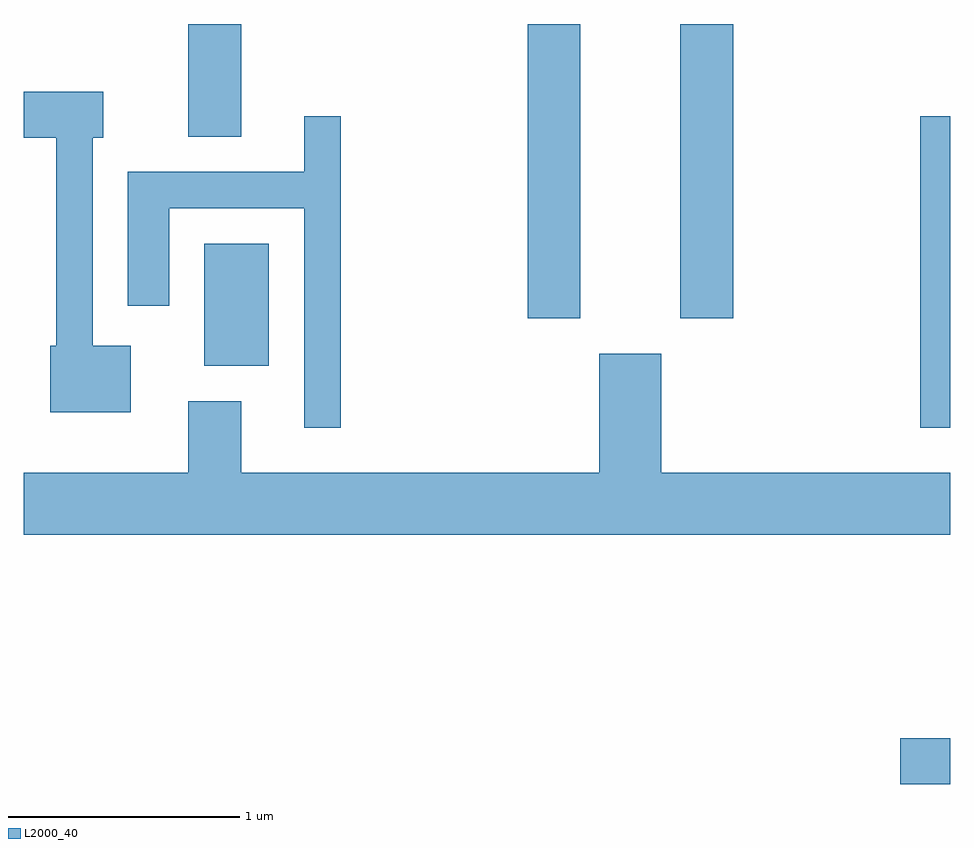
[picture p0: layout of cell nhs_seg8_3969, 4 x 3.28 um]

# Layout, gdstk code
import gdstk
lib = gdstk.Library(unit=1e-6, precision=1e-09)
def R(c, l, rs):  # rectangles x0, y0, x1, y1
    for r in rs: c.add(gdstk.rectangle(r[:2], r[2:], *l))
def P(c, l, *ps):  # polygons
    for p in ps: c.add(gdstk.Polygon(p, *l))
L2000_40 = (2000, 40)

nhs_seg8_3969 = lib.new_cell('nhs_seg8_3969')
R(nhs_seg8_3969, L2000_40, [(307.396,1893.061,307.611,1893.259), (307.481,1894.598,307.611,1895.943), (304.391,1894.866,304.669,1895.394), (305.786,1895.071,306.014,1896.342), (306.446,1895.071,306.674,1896.342), (304.321,1895.856,304.549,1896.342)])
P(nhs_seg8_3969, L2000_40, [(304.074,1894.954),(303.909,1894.954),(303.909,1895.851),(303.954,1895.851),(303.954,1896.049),(303.611,1896.049),(303.611,1895.851),(303.751,1895.851),(303.751,1894.954),(303.726,1894.954),(303.726,1894.666),(304.074,1894.666)],
  [(304.979,1895.943),(304.821,1895.943),(304.821,1895.704),(304.061,1895.704),(304.061,1895.126),(304.239,1895.126),(304.239,1895.546),(304.821,1895.546),(304.821,1894.598),(304.979,1894.598)],
  [(307.611,1894.404),(306.364,1894.404),(306.364,1894.919),(306.096,1894.919),(306.096,1894.404),(304.549,1894.404),(304.549,1894.714),(304.321,1894.714),(304.321,1894.404),(303.611,1894.404),(303.611,1894.136),(307.611,1894.136)])

lib.write_gds('nhs_seg8_3969.gds')
